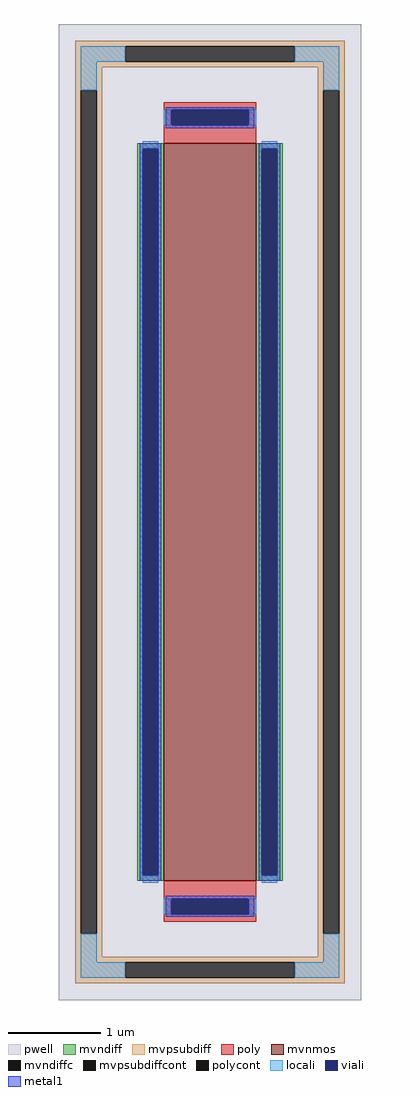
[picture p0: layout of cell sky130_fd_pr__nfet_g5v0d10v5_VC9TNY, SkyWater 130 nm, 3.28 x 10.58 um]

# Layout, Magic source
magic
tech sky130A
<< pwell >>
rect -164 -529 164 529
<< mvnmos >>
rect -50 -400 50 400
<< mvndiff >>
rect -79 394 -50 400
rect -79 -394 -73 394
rect -56 -394 -50 394
rect -79 -400 -50 -394
rect 50 394 79 400
rect 50 -394 56 394
rect 73 -394 79 394
rect 50 -400 79 -394
<< mvndiffc >>
rect -73 -394 -56 394
rect 56 -394 73 394
<< mvpsubdiff >>
rect -146 505 146 511
rect -146 488 -92 505
rect 92 488 146 505
rect -146 482 146 488
rect -146 457 -117 482
rect -146 -457 -140 457
rect -123 -457 -117 457
rect 117 457 146 482
rect -146 -482 -117 -457
rect 117 -457 123 457
rect 140 -457 146 457
rect 117 -482 146 -457
rect -146 -488 146 -482
rect -146 -505 -92 -488
rect 92 -505 146 -488
rect -146 -511 146 -505
<< mvpsubdiffcont >>
rect -92 488 92 505
rect -140 -457 -123 457
rect 123 -457 140 457
rect -92 -505 92 -488
<< poly >>
rect -50 436 50 444
rect -50 419 -42 436
rect 42 419 50 436
rect -50 400 50 419
rect -50 -419 50 -400
rect -50 -436 -42 -419
rect 42 -436 50 -419
rect -50 -444 50 -436
<< polycont >>
rect -42 419 42 436
rect -42 -436 42 -419
<< locali >>
rect -140 488 -92 505
rect 92 488 140 505
rect -140 457 -123 488
rect 123 457 140 488
rect -50 419 -42 436
rect 42 419 50 436
rect -73 394 -56 402
rect -73 -402 -56 -394
rect 56 394 73 402
rect 56 -402 73 -394
rect -50 -436 -42 -419
rect 42 -436 50 -419
rect -140 -488 -123 -457
rect 123 -488 140 -457
rect -140 -505 -92 -488
rect 92 -505 140 -488
<< viali >>
rect -42 419 42 436
rect -73 -394 -56 394
rect 56 -394 73 394
rect -42 -436 42 -419
<< metal1 >>
rect -48 436 48 439
rect -48 419 -42 436
rect 42 419 48 436
rect -48 416 48 419
rect -76 394 -53 400
rect -76 -394 -73 394
rect -56 -394 -53 394
rect -76 -400 -53 -394
rect 53 394 76 400
rect 53 -394 56 394
rect 73 -394 76 394
rect 53 -400 76 -394
rect -48 -419 48 -416
rect -48 -436 -42 -419
rect 42 -436 48 -419
rect -48 -439 48 -436
<< properties >>
string FIXED_BBOX -131 -496 131 496
string gencell sky130_fd_pr__nfet_g5v0d10v5
string library sky130
string parameters w 8 l 1 m 1 nf 1 diffcov 100 polycov 100 guard 1 glc 1 grc 1 gtc 1 gbc 1 tbcov 100 rlcov 100 topc 1 botc 1 poverlap 0 doverlap 1 lmin 0.50 wmin 0.42 compatible {sky130_fd_pr__nfet_01v8 sky130_fd_pr__nfet_01v8_lvt  sky130_fd_bs_flash__special_sonosfet_star  sky130_fd_pr__nfet_g5v0d10v5 sky130_fd_pr__nfet_05v0_nvt  sky130_fd_pr__nfet_03v3_nvt} full_metal 1 viasrc 100 viadrn 100 viagate 100 viagb 0 viagr 0 viagl 0 viagt 0
<< end >>
